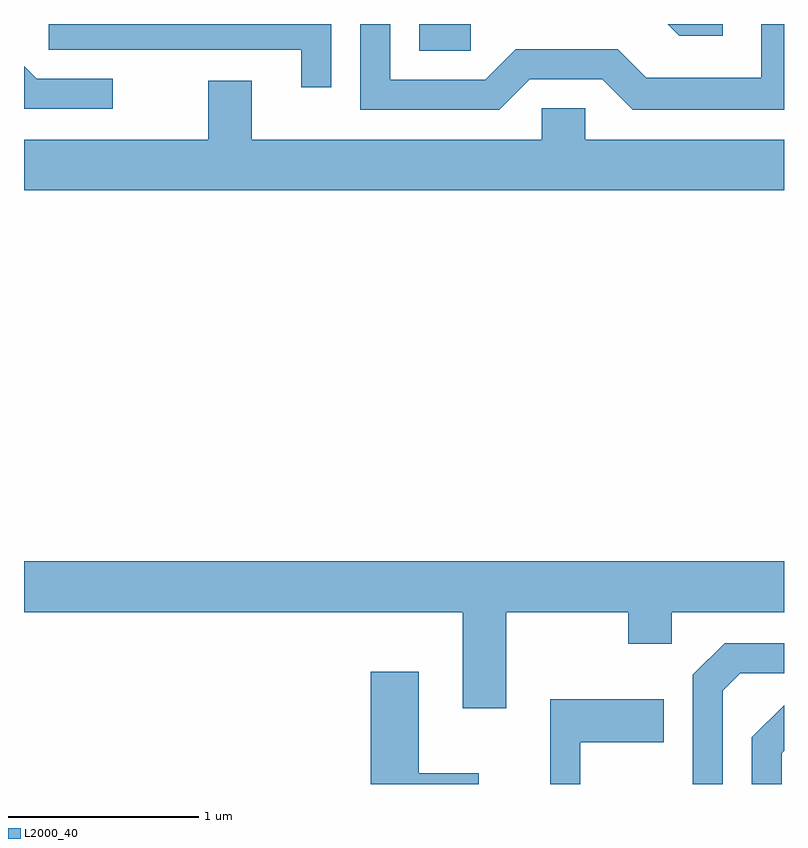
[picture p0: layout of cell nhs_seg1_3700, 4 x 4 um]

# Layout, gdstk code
import gdstk
lib = gdstk.Library(unit=1e-6, precision=1e-09)
def R(c, l, rs):  # rectangles x0, y0, x1, y1
    for r in rs: c.add(gdstk.rectangle(r[:2], r[2:], *l))
def P(c, l, *ps):  # polygons
    for p in ps: c.add(gdstk.Polygon(p, *l))
L2000_40 = (2000, 40)

nhs_seg1_3700 = lib.new_cell('nhs_seg1_3700')
R(nhs_seg1_3700, L2000_40, [(297.691,973.571,297.963,973.712)])
P(nhs_seg1_3700, L2000_40, [(299.288,973.712),(298.998,973.712),(299.059,973.651),(299.288,973.651)],
  [(298.272,973.421),(298.654,973.421),(298.814,973.261),(299.611,973.261),(299.611,973.712),(299.491,973.712),(299.491,973.429),(298.887,973.429),(298.737,973.579),(298.199,973.579),(298.039,973.419),(297.539,973.419),(297.539,973.712),(297.381,973.712),(297.381,973.261),(298.112,973.261)],
  [(297.229,973.712),(295.741,973.712),(295.741,973.576),(297.071,973.576),(297.071,973.378),(297.229,973.378)],
  [(296.078,973.424),(295.677,973.424),(295.611,973.49),(295.611,973.266),(296.078,973.266)],
  [(299.611,973.104),(298.564,973.104),(298.564,973.269),(298.336,973.269),(298.336,973.104),(296.809,973.104),(296.809,973.414),(296.581,973.414),(296.581,973.104),(295.611,973.104),(295.611,972.836),(299.611,972.836)],
  [(298.149,970.616),(298.791,970.616),(298.791,970.451),(299.019,970.451),(299.019,970.616),(299.611,970.616),(299.611,970.884),(295.611,970.884),(295.611,970.616),(297.921,970.616),(297.921,970.111),(298.149,970.111)],
  [(299.289,970.204),(299.382,970.296),(299.611,970.296),(299.611,970.454),(299.299,970.454),(299.131,970.287),(299.131,969.712),(299.289,969.712)],
  [(298.004,969.769),(297.689,969.769),(297.689,970.304),(297.436,970.304),(297.436,969.712),(298.004,969.712)],
  [(298.539,969.931),(298.979,969.931),(298.979,970.159),(298.381,970.159),(298.381,969.712),(298.539,969.712)],
  [(299.599,969.874),(299.611,969.886),(299.611,970.126),(299.441,969.957),(299.441,969.712),(299.599,969.712)])

lib.write_gds('nhs_seg1_3700.gds')
